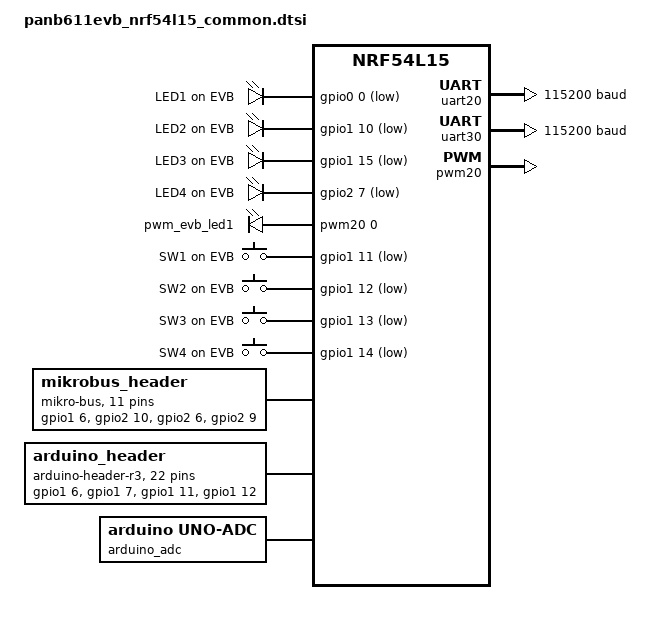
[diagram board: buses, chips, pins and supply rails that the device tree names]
/*
 * Copyright (c) 2025 Panasonic Industrial Devices Europe GmbH
 *
 * SPDX-License-Identifier: Apache-2.0
 */

#include "panb611evb_nrf54l15-pinctrl.dtsi"
#include <zephyr/dt-bindings/gpio/arduino-header-r3.h>

/ {
	leds {
		compatible = "gpio-leds";

		evb_led1: evb_led_1 {
			gpios = <&gpio0 0 GPIO_ACTIVE_LOW>;
			label = "LED1 on EVB";
		};

		evb_led2: evb_led_2 {
			gpios = <&gpio1 10 GPIO_ACTIVE_LOW>;
			label = "LED2 on EVB";
		};

		evb_led3: evb_led_3 {
			gpios = <&gpio1 15 GPIO_ACTIVE_LOW>;
			label = "LED3 on EVB";
		};

		evb_led4: evb_led_4 {
			gpios = <&gpio2 7 GPIO_ACTIVE_LOW>;
			label = "LED4 on EVB";
		};
	};

	pwmleds {
		compatible = "pwm-leds";

		/*
		 * PWM signal can be exposed on GPIO pin only within same domain.
		 * There is only one domain which contains both PWM and GPIO:
		 * PWM20/21/22 and GPIO Port P1.
		 * Only LEDs connected to P1 can work with PWM, for example LED1.
		 */
		pwm_evb_led1: pwm_evb_led_1 {
			pwms = <&pwm20 0 PWM_MSEC(20) PWM_POLARITY_NORMAL>;
		};
	};

	buttons {
		compatible = "gpio-keys";

		evb_sw1: evb_sw_1 {
			gpios = <&gpio1 11 (GPIO_PULL_UP | GPIO_ACTIVE_LOW)>;
			label = "SW1 on EVB";
			zephyr,code = <INPUT_KEY_0>;
		};

		evb_sw2: evb_sw_2 {
			gpios = <&gpio1 12 (GPIO_PULL_UP | GPIO_ACTIVE_LOW)>;
			label = "SW2 on EVB";
			zephyr,code = <INPUT_KEY_1>;
		};

		evb_sw3: evb_sw_3 {
			gpios = <&gpio1 13 (GPIO_PULL_UP | GPIO_ACTIVE_LOW)>;
			label = "SW3 on EVB";
			zephyr,code = <INPUT_KEY_2>;
		};

		evb_sw4: evb_sw_4 {
			gpios = <&gpio1 14 (GPIO_PULL_UP | GPIO_ACTIVE_LOW)>;
			label = "SW4 on EVB";
			zephyr,code = <INPUT_KEY_3>;
		};
	};

	mikrobus_header: mikrobus-connector {
		compatible = "mikro-bus";
		#gpio-cells = <2>;
		gpio-map-mask = <0xffffffff 0xffffffc0>;
		gpio-map-pass-thru = <0 0x3f>;
		gpio-map = <0 0 &gpio1 6 0>,	/* AN */
			   /* Not a GPIO*/		/* RST */
			   <2 0 &gpio2 10 0>,	/* CS */
			   <3 0 &gpio2 6 0>,	/* SCK */
			   <4 0 &gpio2 9 0>,	/* MISO */
			   <5 0 &gpio2 8 0>,	/* MOSI */
			   /* +3.3V */
			   /* GND */
			   <6 0 &gpio1 15 0>,	/* PWM */
			   <7 0 &gpio2 7 0>,	/* INT */
			   <8 0 &gpio1 5 0>,	/* RX */
			   <9 0 &gpio1 4 0>,	/* TX */
			   <10 0 &gpio1 8 0>,	/* SCL */
			   <11 0 &gpio1 9 0>;	/* SDA */
		/* +5V */
		/* GND */
	};

	arduino_header: connector {
		compatible = "arduino-header-r3";
		#gpio-cells = <2>;
		gpio-map-mask = <0xffffffff 0xffffffc0>;
		gpio-map-pass-thru = <0 0x3f>;
		gpio-map = <ARDUINO_HEADER_R3_A0 0 &gpio1 6 0>,
			   <ARDUINO_HEADER_R3_A1 0 &gpio1 7 0>,
			   <ARDUINO_HEADER_R3_A2 0 &gpio1 11 0>,
			   <ARDUINO_HEADER_R3_A3 0 &gpio1 12 0>,
			   <ARDUINO_HEADER_R3_A4 0 &gpio1 13 0>,
			   <ARDUINO_HEADER_R3_A5 0 &gpio1 14 0>,
			   <ARDUINO_HEADER_R3_D0 0 &gpio1 4 0>,
			   <ARDUINO_HEADER_R3_D1 0 &gpio1 5 0>,
			   <ARDUINO_HEADER_R3_D2 0 &gpio0 0 0>,
			   <ARDUINO_HEADER_R3_D3 0 &gpio1 2 0>,
			   <ARDUINO_HEADER_R3_D4 0 &gpio1 3 0>,
			   <ARDUINO_HEADER_R3_D5 0 &gpio1 10 0>,
			   <ARDUINO_HEADER_R3_D6 0 &gpio1 13 0>,
			   <ARDUINO_HEADER_R3_D7 0 &gpio1 14 0>,
			   <ARDUINO_HEADER_R3_D8 0 &gpio1 15 0>,
			   <ARDUINO_HEADER_R3_D9 0 &gpio2 7 0>,
			   <ARDUINO_HEADER_R3_D10 0 &gpio2 10 0>,
			   <ARDUINO_HEADER_R3_D11 0 &gpio2 8 0>,
			   <ARDUINO_HEADER_R3_D12 0 &gpio2 9 0>,
			   <ARDUINO_HEADER_R3_D13 0 &gpio2 6 0>,
			   <ARDUINO_HEADER_R3_D14 0 &gpio1 9 0>,
			   <ARDUINO_HEADER_R3_D15 0 &gpio1 8 0>;
	};

	arduino_adc: analog-connector {
		compatible = "arduino,uno-adc";
		#io-channel-cells = <1>;
		io-channel-map = <0 &adc 0>,	/* A0 = P1.06 = AIN0 */
				 <1 &adc 1>,	/* A1 = P1.07 = AIN1 */
				 <2 &adc 2>,	/* A2 = P1.11 = AIN2 */
				 <3 &adc 3>,	/* A3 = P1.12 = AIN3 */
				 <4 &adc 4>,	/* A4 = P1.13 = AIN4 */
				 <5 &adc 5>;	/* A5 = P1.14 = AIN5 */
	};

	aliases {
		led0 = &evb_led1;
		led1 = &evb_led2;
		led2 = &evb_led3;
		led3 = &evb_led4;
		pwm-led0 = &pwm_evb_led1;
		sw0 = &evb_sw1;
		sw1 = &evb_sw2;
		sw2 = &evb_sw3;
		sw3 = &evb_sw4;
		watchdog0 = &wdt31;
	};
};

&uart20 {
	current-speed = <115200>;
	pinctrl-0 = <&uart20_default>;
	pinctrl-1 = <&uart20_sleep>;
	pinctrl-names = "default", "sleep";
};

&uart30 {
	current-speed = <115200>;
	pinctrl-0 = <&uart30_default>;
	pinctrl-1 = <&uart30_sleep>;
	pinctrl-names = "default", "sleep";
};

&pwm20 {
	status = "okay";
	pinctrl-0 = <&pwm20_default>;
	pinctrl-1 = <&pwm20_sleep>;
	pinctrl-names = "default", "sleep";
};
